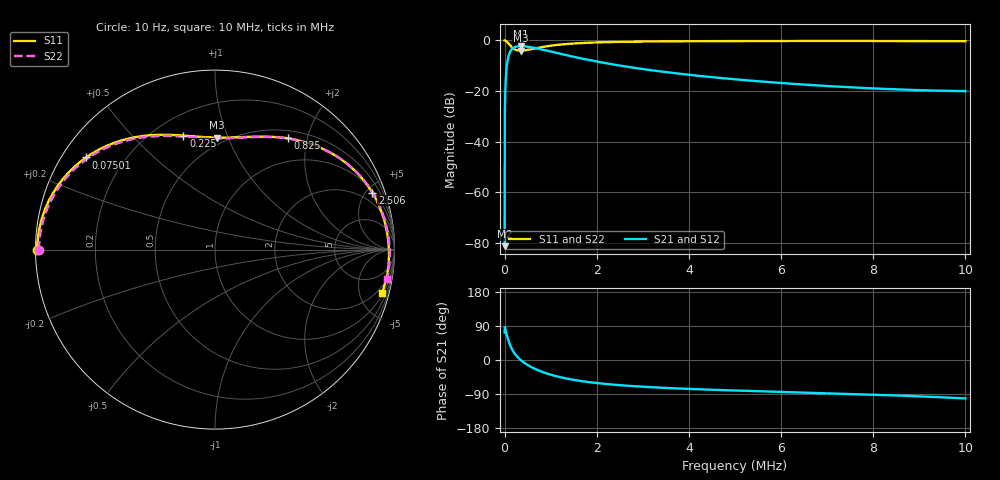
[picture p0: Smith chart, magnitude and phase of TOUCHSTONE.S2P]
!Keysight Technologies,E5061B,MY49912438,B.06.30
!Date: Fri Nov 07 00:06:20 2025
!Data & Calibration Information:
!Freq	S11:SOLT2(ON)	S21:SOLT2(ON)	S12:SOLT2(ON)	S22:SOLT2(ON)
# Hz S RI R 50
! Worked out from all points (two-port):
!   1601 points, 10 Hz to 10 MHz, reference 50 ohm
!   highest |S21| = -2.29 dB at 350 kHz (marker M1); lowest = -81.2 dB at 10 Hz (marker M2)
!   |S21| within 3 dB of the highest: 101.6 kHz to 1.204 MHz (1.103 MHz wide, 169 % of centre)
!   lowest |S11| = -4.1 dB at 350 kHz (marker M3), VSWR 4.32, Z = 22.3 + j45.6 ohm
!   |S11| at or under -10 dB: nowhere
!   |S22| runs from -4.2 to -0.2 dB; largest |S21 - S12| = 0.0019
!   S11 on the Smith chart (normalised r, x): 10 Hz: 0.00, -0.00; 75.01 kHz: 0.07, +0.32; 225 kHz: 0.32, +0.71; 825 kHz: 0.61, +1.68; 2.506 MHz: 1.13, +5.47; 10 MHz: 1.21, -7.55
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10  -0.9931 -0.00147  2.69e-05 8.31e-05  1.35e-05 -8.14e-05  -0.9827 -0.00124
25009.97  -0.9502 0.2165  0.0381 0.1663  0.0382 0.167  -0.94 0.2147
56259.94  -0.8168 0.4283  0.165 0.3148  0.1657 0.3161  -0.8077 0.4242
75009.93  -0.7183 0.5132  0.2584 0.3623  0.2593 0.3635  -0.7103 0.508
100009.9  -0.5886 0.5843  0.379 0.3834  0.3799 0.3846  -0.5822 0.578
131259.9  -0.4476 0.6257  0.5051 0.3638  0.5063 0.365  -0.443 0.6191
175009.8  -0.2969 0.64  0.6285 0.2953  0.6298 0.2965  -0.2944 0.6334
225009.8  -0.1762 0.6353  0.7108 0.2019  0.7115 0.2029  -0.1751 0.6296
281259.7  -0.0793 0.628  0.7543 0.1017  0.7555 0.1027  -0.0795 0.6229
350009.7  0.00984 0.6239  0.7682 -0.0038  0.7696 -0.00294  0.00875 0.6194
450009.5  0.1127 0.6252  0.748 -0.1242  0.7494 -0.1233  0.1105 0.6218
562509.4  0.2113 0.629  0.6986 -0.2216  0.7002 -0.221  0.2081 0.6266
687509.3  0.3088 0.6283  0.6317 -0.2948  0.6334 -0.2944  0.3048 0.6272
825009.2  0.4043 0.6201  0.5568 -0.3446  0.5587 -0.3447  0.3993 0.6201
1212509  0.6067 0.5586  0.3798 -0.3862  0.3814 -0.3868  0.6007 0.5621
1668758  0.7506 0.4656  0.2471 -0.362  0.2481 -0.3627  0.7441 0.4725
2506257  0.8764 0.3173  0.1265 -0.2907  0.1272 -0.2915  0.8706 0.3309
3337507  0.9276 0.2095  0.0731 -0.2354  0.0736 -0.2362  0.9232 0.2289
5000005  0.9638 0.0611  0.0281 -0.1679  0.0282 -0.1686  0.9627 0.0923
6668753  0.9691 -0.0496  0.00804 -0.1307  0.00808 -0.1313  0.9733 -0.005
8337502  0.9577 -0.1477  -0.00544 -0.1091  -0.0055 -0.1096  0.9708 -0.087
1e7  0.9287 -0.244  -0.0197 -0.0977  -0.0198 -0.0982  0.9581 -0.1633
